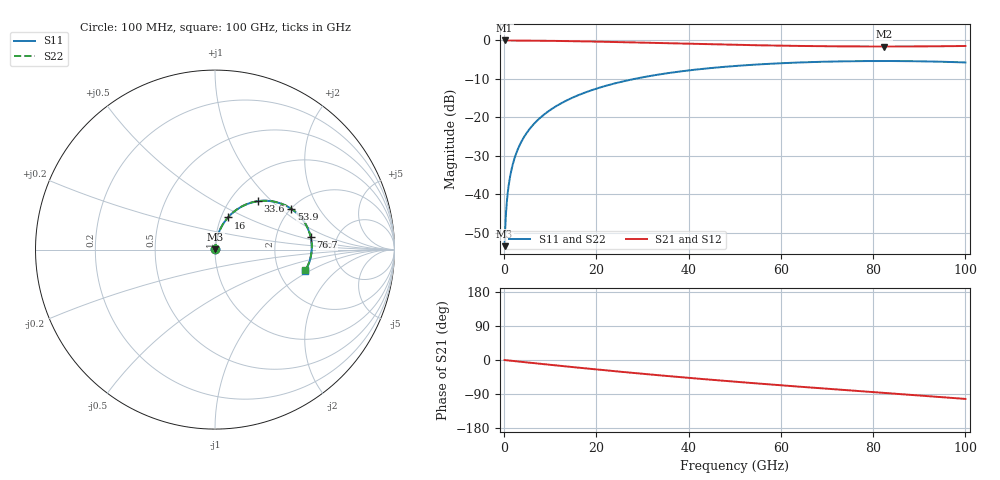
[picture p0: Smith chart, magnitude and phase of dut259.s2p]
! Touchstone file exported from HFSS 2026.1.0
!  File:  C:/ffzhzh/LocalFiles/Ansys_Project_Files/temp_train_RDL_259_1783501653_31944.aedt
!  Generated:  05:08:57 PM Jul  8, 2026
!  Design:  RDL
!  Project:  temp_train_RDL_259_1783501653_31944
! Variables:
!  h_bsmrdl = 2um
!  h_ox = 20um
!  h_rdl = 5um
!  h_sub = 80um
!  h_tmrdl = 4.04um
!  h_tsv = 80um
!  h_via = 3um
!  l_bsmrdl = 300um
!  l_sub = 739.14um
!  l_tmrdl = 339.14um
!  m_sub = 200um
!  pitch = 46.86um
!  r_tsv = 6um
!  s_tmrdl = 10um
!  w_bsmrdl = 18um
!  w_sub = 500um
!  w_tmrdl = 21.45um
!  x_tsv_center1 = 349.865um
!  x_tsv_center2 = 667.865um
!  x_tsv_center3 = 1028.455um
!  x_tsv_center4 = 1346.455um
!  x_tsv_center5 = 1707.045um
!  x_tsv_center6 = 2025.045um
# GHz S MA R 50.000000
! Terminal data exported
! Port[1] = TM_RDL1_1_T1
! Port[2] = TM_RDL1_1_T2
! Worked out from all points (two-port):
!   1000 points, 100 MHz to 100 GHz, reference 50 ohm
!   highest |S21| = -0.01 dB at 100 MHz (marker M1); lowest = -1.6 dB at 82.3 GHz (marker M2)
!   |S21| within 3 dB of the highest: start of sweep to end of sweep
!   lowest |S11| = -53.5 dB at 100 MHz (marker M3), VSWR 1.00, Z = 50.2 + j0.143 ohm
!   |S11| at or under -10 dB: start of sweep to 28.29 GHz
!   |S22| runs from -53.5 to -5.4 dB; largest |S21 - S12| = 1.5e-14
!   S11 on the Smith chart (normalised r, x): 100 MHz: 1.00, +0.00; 16 GHz: 1.08, +0.40; 33.6 GHz: 1.34, +0.83; 53.9 GHz: 2.01, +1.19; 76.7 GHz: 3.19, +0.62; 100 GHz: 2.81, -0.90
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0.1  0.002118 42.3  0.9984 -0.1  0.9984 -0.1  0.002118 42.3
! Gamma 0 0 0 0
! Port Impedance 50 0 50 0
0.8  0.01075 78.6  0.998 -1.1  0.998 -1.1  0.01075 78.6
1.1  0.01458 80.7  0.9979 -1.4  0.9979 -1.4  0.01458 80.7
1.4  0.01844 81.7  0.9978 -1.8  0.9978 -1.8  0.01844 81.7
1.9  0.02486 82.4  0.9975 -2.5  0.9975 -2.5  0.02486 82.5
2.4  0.03128 82.6  0.9972 -3.1  0.9972 -3.1  0.03128 82.6
3.8  0.0491 81.8  0.996 -4.9  0.996 -4.9  0.0491 81.8
5.8  0.07408 79.7  0.9936 -7.5  0.9936 -7.5  0.07408 79.7
8.5  0.1069 76.7  0.9897 -10.9  0.9897 -10.9  0.1069 76.7
11.9  0.147 72.7  0.9836 -15.1  0.9836 -15.1  0.147 72.8
16  0.1934 68.0  0.9747 -20.1  0.9747 -20.1  0.1933 68.1
16.8  0.2021 67.1  0.9728 -21.1  0.9728 -21.1  0.2021 67.1
24.2  0.2783 58.6  0.9529 -29.8  0.9529 -29.8  0.2783 58.7
33.4  0.3592 48.5  0.9249 -40.1  0.9249 -40.1  0.3592 48.7
33.6  0.3608 48.3  0.9243 -40.3  0.9243 -40.3  0.3608 48.4
50.1  0.4653 31.6  0.8763 -57.3  0.8763 -57.3  0.4653 31.8
53.9  0.4825 28.0  0.867 -61.0  0.867 -61.0  0.4824 28.2
66.7  0.523 16.3  0.8434 -72.8  0.8434 -72.8  0.523 16.5
76.7  0.5377 7.4  0.8342 -81.8  0.8342 -81.8  0.5376 7.7
82.3  0.5397 2.5  0.8329 -86.8  0.8329 -86.8  0.5396 2.8
83.4  0.5396 1.6  0.8329 -87.7  0.8329 -87.7  0.5395 1.8
100  0.5169 -13.2  0.8463 -102.7  0.8463 -102.7  0.5168 -12.8
